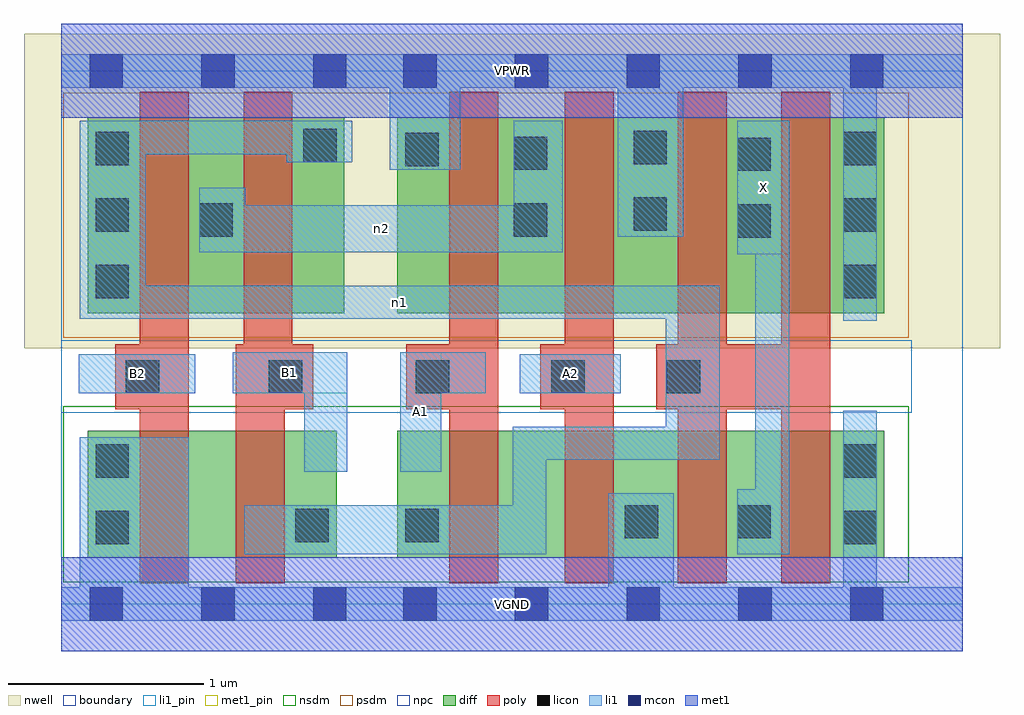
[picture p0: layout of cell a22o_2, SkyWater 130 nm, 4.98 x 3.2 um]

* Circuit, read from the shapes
.subckt a22o_2 A1 A2 B1 B2 VGND VPWR X n1 n2
XM1 n3 B2 VGND VSUBS sky130_fd_pr__nfet_01v8 w=0.65 l=0.25
XM2 n1 B1 n3 VSUBS sky130_fd_pr__nfet_01v8 w=0.65 l=0.25
XM3 n4 A1 n1 VSUBS sky130_fd_pr__nfet_01v8 w=0.65 l=0.25
XM4 VGND A2 n4 VSUBS sky130_fd_pr__nfet_01v8 w=0.65 l=0.25
XM5 X n1 VGND VSUBS sky130_fd_pr__nfet_01v8 w=0.65 l=0.25 m=2
XM6 n2 B2 n1 n5 sky130_fd_pr__pfet_01v8 w=1 l=0.25
XM7 n1 B1 n2 n5 sky130_fd_pr__pfet_01v8 w=1 l=0.25
XM8 n2 A1 VPWR n5 sky130_fd_pr__pfet_01v8 w=1 l=0.25
XM9 VPWR A2 n2 n5 sky130_fd_pr__pfet_01v8 w=1 l=0.25
XM10 X n1 VPWR n5 sky130_fd_pr__pfet_01v8 w=1 l=0.25 m=2
.ends

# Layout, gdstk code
import gdstk
lib = gdstk.Library(unit=1e-6, precision=1e-09)
def R(c, l, rs):  # rectangles x0, y0, x1, y1
    for r in rs: c.add(gdstk.rectangle(r[:2], r[2:], *l))
def A(c, l, x, y, w, h, nx, ny, dx, dy):  # array of equal rectangles
    R(c, l, [(x+i*dx, y+j*dy, x+i*dx+w, y+j*dy+h) for i in range(nx) for j in range(ny)])
nwell = (64, 20)
diff = (65, 20)
poly = (66, 20)
licon = (66, 44)
li1_pin = (67, 16)
li1 = (67, 20)
mcon = (67, 44)
met1_pin = (68, 16)
met1 = (68, 20)
nsdm = (93, 44)
psdm = (94, 20)
npc = (95, 20)
boundary = (235, 4)

a22o_2 = lib.new_cell('a22o_2')
R(a22o_2, nwell, [(-0.19,1.305,4.79,2.91), (0,1.305,4.6,2.91)])
R(a22o_2, diff, [(0.135,0.235,1.405,0.885), (1.715,0.235,4.2,0.885), (0.135,1.485,1.445,2.485), (1.715,1.485,4.2,2.485)])
R(a22o_2, poly, [(0.4,0.105,0.65,2.615), (0.89,0.105,1.14,1.325), (1.98,0.105,2.23,2.615), (2.57,0.105,2.82,2.615), (3.145,0.105,3.395,2.615), (3.675,0.105,3.925,2.615), (0.275,0.995,0.65,1.325), (0.89,0.995,1.285,1.325), (0.93,0.995,1.18,2.615), (1.76,0.995,2.23,1.325), (2.445,0.995,2.82,1.325), (3.035,0.995,3.925,1.325)])
A(a22o_2, licon, 0.175, 1.56, 0.17, 0.17, 1, 3, 0, 0.34)
A(a22o_2, licon, 3.99, 1.56, 0.17, 0.17, 1, 3, 0, 0.34)
R(a22o_2, licon, [(0.175,0.305,0.345,0.475), (3.99,0.305,4.16,0.475), (1.195,0.315,1.365,0.485), (1.755,0.315,1.925,0.485), (2.875,0.335,3.045,0.505), (3.45,0.335,3.62,0.505), (0.175,0.645,0.345,0.815), (3.99,0.645,4.16,0.815), (0.33,1.075,0.5,1.245), (1.06,1.075,1.23,1.245), (1.81,1.075,1.98,1.245), (2.5,1.075,2.67,1.245), (3.09,1.075,3.26,1.245), (3.45,1.87,3.62,2.04), (0.705,1.875,0.875,2.045), (2.31,1.875,2.48,2.045), (2.92,1.905,3.09,2.075), (3.45,2.21,3.62,2.38), (2.31,2.215,2.48,2.385), (1.755,2.235,1.925,2.405), (2.92,2.245,3.09,2.415), (1.235,2.255,1.405,2.425)])
R(a22o_2, li1_pin, [(1.73,0.675,1.94,1.285), (0.09,1.075,0.685,1.275), (0.875,1.075,1.46,1.285), (2.34,1.075,2.855,1.275), (3.45,1.785,3.715,2.465)])
R(a22o_2, li1, [(0,-0.085,4.6,0.085), (0.095,-0.085,0.65,0.85), (2.79,-0.085,3.125,0.565), (3.99,-0.085,4.16,0.985), (0.935,0.255,2.475,0.505), (2.305,0.255,2.475,0.905), (3.45,0.255,3.715,0.585), (3.54,0.255,3.715,2.465), (1.24,0.675,1.46,1.285), (1.73,0.675,1.94,1.285), (2.305,0.735,3.36,0.905), (3.085,0.735,3.36,1.625), (0.09,1.075,0.685,1.275), (0.875,1.075,1.46,1.285), (1.73,1.075,2.165,1.285), (2.34,1.075,2.855,1.275), (3.99,1.445,4.16,2.805), (0.095,1.455,3.36,1.625), (0.095,1.455,0.43,2.465), (3.45,1.785,3.715,2.465), (0.705,1.795,2.56,2.035), (0.705,1.795,0.94,2.125), (2.31,1.795,2.56,2.465), (2.84,1.875,3.175,2.805), (1.675,2.215,2.035,2.805), (1.15,2.255,1.485,2.465), (0.095,2.295,1.485,2.465), (0,2.635,4.6,2.805)])
A(a22o_2, mcon, 0.145, -0.085, 0.17, 0.17, 3, 2, 0.57, 2.72)
A(a22o_2, mcon, 1.745, -0.085, 0.17, 0.17, 5, 2, 0.57, 2.72)
R(a22o_2, met1_pin, [(0,-0.24,4.6,0.24), (0,2.48,4.6,2.96)])
R(a22o_2, met1, [(0,-0.24,4.6,0.24), (0,2.48,4.6,2.96)])
R(a22o_2, nsdm, [(0.01,0.11,4.325,1.01)])
R(a22o_2, psdm, [(0.01,1.36,4.325,2.61)])
R(a22o_2, npc, [(0,0.975,4.34,1.345)])
R(a22o_2, boundary, [(0,0,4.6,2.72)])
a22o_2.add(gdstk.Label('A1', (1.835,0.98), layer=67, texttype=5))
a22o_2.add(gdstk.Label('A2', (2.597,1.175), layer=67, texttype=5))
a22o_2.add(gdstk.Label('B1', (1.167,1.18), layer=67, texttype=5))
a22o_2.add(gdstk.Label('B2', (0.387,1.175), layer=67, texttype=5))
a22o_2.add(gdstk.Label('X', (3.582,2.125), layer=67, texttype=5))
a22o_2.add(gdstk.Label('n1', (1.727,1.54), layer=67, texttype=5))
a22o_2.add(gdstk.Label('n2', (1.632,1.915), layer=67, texttype=5))
a22o_2.add(gdstk.Label('VPWR', (2.3,2.72), layer=68, texttype=5))
a22o_2.add(gdstk.Label('VGND', (2.3,0), layer=68, texttype=5))
a22o_2.add(gdstk.Label('A1', (1.835,0.98), layer=67, texttype=16))
a22o_2.add(gdstk.Label('A2', (2.597,1.175), layer=67, texttype=16))
a22o_2.add(gdstk.Label('B1', (1.167,1.18), layer=67, texttype=16))
a22o_2.add(gdstk.Label('B2', (0.387,1.175), layer=67, texttype=16))
a22o_2.add(gdstk.Label('X', (3.582,2.125), layer=67, texttype=16))
a22o_2.add(gdstk.Label('VPWR', (2.3,2.72), layer=68, texttype=16))
a22o_2.add(gdstk.Label('VGND', (2.3,0), layer=68, texttype=16))

lib.write_gds('a22o_2.gds')
